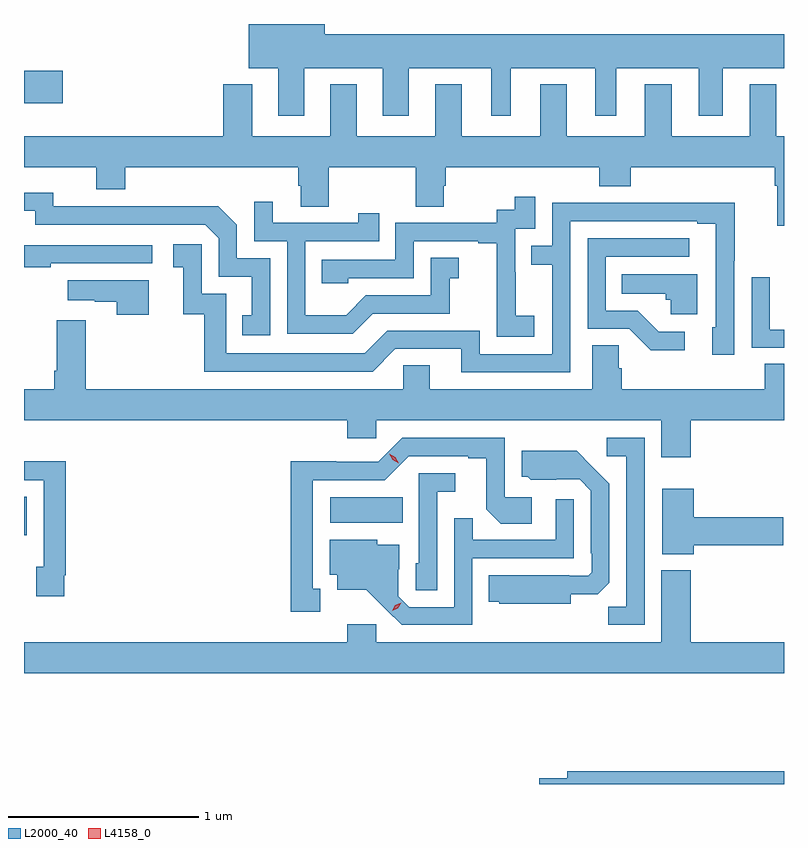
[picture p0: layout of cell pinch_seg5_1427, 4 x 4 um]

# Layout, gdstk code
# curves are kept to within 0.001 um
import gdstk
lib = gdstk.Library(unit=1e-6, precision=1e-09)
def R(c, l, rs):  # rectangles x0, y0, x1, y1
    for r in rs: c.add(gdstk.rectangle(r[:2], r[2:], *l))
def P(c, l, *ps):  # polygons
    for p in ps: c.add(gdstk.Polygon(p, *l))
L2000_40 = (2000, 40)
L4158_0 = (4158, 0)

pinch_seg5_1427 = lib.new_cell('pinch_seg5_1427')
R(pinch_seg5_1427, L2000_40, [(159.295,882.794,159.31,882.997), (160.908,882.86,161.288,882.994), (159.295,885.068,159.499,885.239)])
P(pinch_seg5_1427, L2000_40, [(160.771,885.254),(161.183,885.254),(161.183,885.003),(161.32,885.003),(161.32,885.254),(161.753,885.254),(161.753,885.003),(161.857,885.003),(161.857,885.254),(162.302,885.254),(162.302,885.003),(162.412,885.003),(162.412,885.254),(162.845,885.254),(162.845,885.003),(162.973,885.003),(162.973,885.254),(163.295,885.254),(163.295,885.433),(160.879,885.433),(160.879,885.486),(160.478,885.486),(160.478,885.254),(160.634,885.254),(160.634,885.003),(160.771,885.003)],
  [(160.495,885.169),(160.343,885.169),(160.343,884.896),(159.295,884.896),(159.295,884.732),(159.674,884.732),(159.674,884.615),(159.827,884.615),(159.827,884.732),(160.739,884.732),(160.739,884.634),(160.751,884.634),(160.751,884.524),(160.899,884.524),(160.899,884.732),(161.356,884.732),(161.356,884.524),(161.503,884.524),(161.503,884.634),(161.516,884.634),(161.516,884.732),(162.323,884.732),(162.323,884.633),(162.488,884.633),(162.488,884.732),(163.247,884.732),(163.247,884.636),(163.259,884.636),(163.259,884.423),(163.295,884.423),(163.295,884.896),(163.255,884.896),(163.255,885.169),(163.115,885.169),(163.115,884.896),(162.703,884.896),(162.703,885.169),(162.563,885.169),(162.563,884.896),(162.151,884.896),(162.151,885.169),(162.011,885.169),(162.011,884.896),(161.599,884.896),(161.599,885.169),(161.459,885.169),(161.459,884.896),(161.047,884.896),(161.047,885.169),(160.907,885.169),(160.907,884.896),(160.495,884.896)],
  [(160.59,884.253),(160.416,884.253),(160.416,884.43),(160.318,884.528),(159.91,884.528),(159.91,884.526),(159.45,884.526),(159.45,884.599),(159.295,884.599),(159.295,884.502),(159.354,884.502),(159.354,884.43),(160.248,884.43),(160.32,884.358),(160.32,884.157),(160.493,884.157),(160.493,883.953),(160.444,883.953),(160.444,883.848),(160.59,883.848)],
  [(161.98,883.951),(161.882,883.951),(161.882,884.18),(161.88,884.18),(161.88,884.409),(161.985,884.409),(161.985,884.578),(161.877,884.578),(161.877,884.508),(161.784,884.508),(161.784,884.439),(161.25,884.439),(161.25,884.244),(160.861,884.244),(160.861,884.121),(161.001,884.121),(161.001,884.148),(161.346,884.148),(161.346,884.343),(161.687,884.343),(161.687,884.331),(161.783,884.331),(161.783,884.047),(161.782,884.047),(161.782,883.841),(161.98,883.841)],
  [(161.131,883.962),(161.535,883.962),(161.535,884.147),(161.584,884.147),(161.584,884.257),(161.436,884.257),(161.436,884.058),(161.094,884.058),(160.99,883.954),(160.776,883.954),(160.776,884.343),(161.165,884.343),(161.165,884.491),(161.054,884.491),(161.054,884.439),(160.603,884.439),(160.603,884.551),(160.506,884.551),(160.506,884.343),(160.68,884.343),(160.68,883.857),(161.026,883.857)],
  [(162.171,884.448),(162.839,884.448),(162.839,884.436),(162.936,884.436),(162.936,883.89),(162.917,883.89),(162.917,883.746),(163.032,883.746),(163.032,884.239),(163.035,884.239),(163.035,884.546),(162.571,884.546),(162.571,884.544),(162.075,884.544),(162.075,884.319),(161.965,884.319),(161.965,884.218),(162.075,884.218),(162.075,883.749),(161.694,883.749),(161.694,883.872),(161.208,883.872),(161.088,883.752),(160.359,883.752),(160.359,884.067),(160.23,884.067),(160.23,884.326),(160.08,884.326),(160.08,884.205),(160.133,884.205),(160.133,883.959),(160.243,883.959),(160.243,883.656),(161.13,883.656),(161.25,883.776),(161.597,883.776),(161.597,883.653),(162.171,883.653)],
  [(162.772,883.866),(162.637,883.866),(162.526,883.977),(162.357,883.977),(162.357,884.262),(162.796,884.262),(162.796,884.358),(162.261,884.358),(162.261,883.881),(162.48,883.881),(162.593,883.769),(162.772,883.769)],
  [(159.437,884.226),(159.97,884.226),(159.97,884.322),(159.295,884.322),(159.295,884.206),(159.437,884.206)],
  [(162.838,884.17),(162.442,884.17),(162.442,884.066),(162.673,884.066),(162.673,884.034),(162.699,884.034),(162.699,883.958),(162.838,883.958)],
  [(163.295,883.878),(163.221,883.878),(163.221,884.152),(163.125,884.152),(163.125,883.782),(163.295,883.782)],
  [(159.952,884.137),(159.525,884.137),(159.525,884.033),(159.668,884.033),(159.668,884.023),(159.782,884.023),(159.782,883.956),(159.952,883.956)],
  [(162.44,883.673),(162.426,883.673),(162.426,883.796),(162.287,883.796),(162.287,883.564),(161.431,883.564),(161.431,883.691),(161.292,883.691),(161.292,883.564),(159.62,883.564),(159.62,883.927),(159.467,883.927),(159.467,883.66),(159.455,883.66),(159.455,883.564),(159.295,883.564),(159.295,883.4),(160.997,883.4),(160.997,883.307),(161.148,883.307),(161.148,883.4),(162.65,883.4),(162.65,883.206),(162.803,883.206),(162.803,883.4),(163.295,883.4),(163.295,883.697),(163.193,883.697),(163.193,883.564),(162.44,883.564)],
  [(162.561,883.308),(162.363,883.308),(162.363,883.212),(162.465,883.212),(162.465,882.419),(162.37,882.419),(162.37,882.324),(162.561,882.324)],
  [(160.855,882.513),(160.816,882.513),(160.816,883.086),(161.193,883.086),(161.319,883.212),(161.633,883.212),(161.633,883.2),(161.727,883.2),(161.727,882.932),(161.803,882.856),(161.968,882.856),(161.968,882.996),(161.826,882.996),(161.826,883.308),(161.286,883.308),(161.16,883.182),(160.938,883.182),(160.938,883.184),(160.698,883.184),(160.698,882.393),(160.855,882.393)],
  [(162.172,882.485),(162.316,882.485),(162.375,882.544),(162.375,883.066),(162.203,883.24),(161.915,883.24),(161.915,883.104),(161.946,883.104),(161.962,883.088),(162.219,883.089),(162.279,883.029),(162.279,882.7),(162.282,882.7),(162.282,882.6),(162.264,882.582),(162.164,882.582),(162.164,882.586),(161.74,882.586),(161.74,882.446),(161.796,882.446),(161.796,882.434),(162.172,882.434)],
  [(159.508,882.586),(159.515,882.586),(159.515,883.184),(159.295,883.184),(159.295,883.086),(159.399,883.086),(159.399,882.63),(159.359,882.63),(159.359,882.474),(159.508,882.474)],
  [(161.469,883.025),(161.566,883.025),(161.566,883.122),(161.373,883.122),(161.373,882.648),(161.358,882.648),(161.358,882.505),(161.469,882.505)],
  [(162.82,882.743),(163.291,882.743),(163.291,882.89),(162.82,882.89),(162.82,883.039),(162.653,883.039),(162.653,882.695),(162.82,882.695)],
  [(161.655,882.675),(162.189,882.675),(162.189,882.985),(162.093,882.985),(162.093,882.771),(161.657,882.771),(161.657,882.884),(161.559,882.884),(161.559,882.417),(161.322,882.417),(161.265,882.474),(161.265,882.616),(161.269,882.616),(161.269,882.745),(161.154,882.745),(161.154,882.772),(160.904,882.772),(160.904,882.588),(160.943,882.588),(160.943,882.509),(161.095,882.509),(161.282,882.324),(161.655,882.324)],
  [(163.295,882.232),(162.803,882.232),(162.803,882.61),(162.65,882.61),(162.65,882.232),(161.148,882.232),(161.148,882.328),(160.997,882.328),(160.997,882.232),(159.295,882.232),(159.295,882.068),(163.295,882.068)],
  [(163.295,881.552),(162.155,881.552),(162.155,881.516),(162.006,881.516),(162.006,881.486),(163.295,881.486)])
P(pinch_seg5_1427, L4158_0, [(161.232,882.398),(161.232,882.398),(161.25,882.427),(161.281,882.441),(161.281,882.441),(161.281,882.441),(161.263,882.412),(161.232,882.398)],
  [(161.267,883.173),(161.235,883.192),(161.217,883.224),(161.217,883.225),(161.217,883.225),(161.249,883.206),(161.267,883.173),(161.267,883.173)])

lib.write_gds('pinch_seg5_1427.gds')
